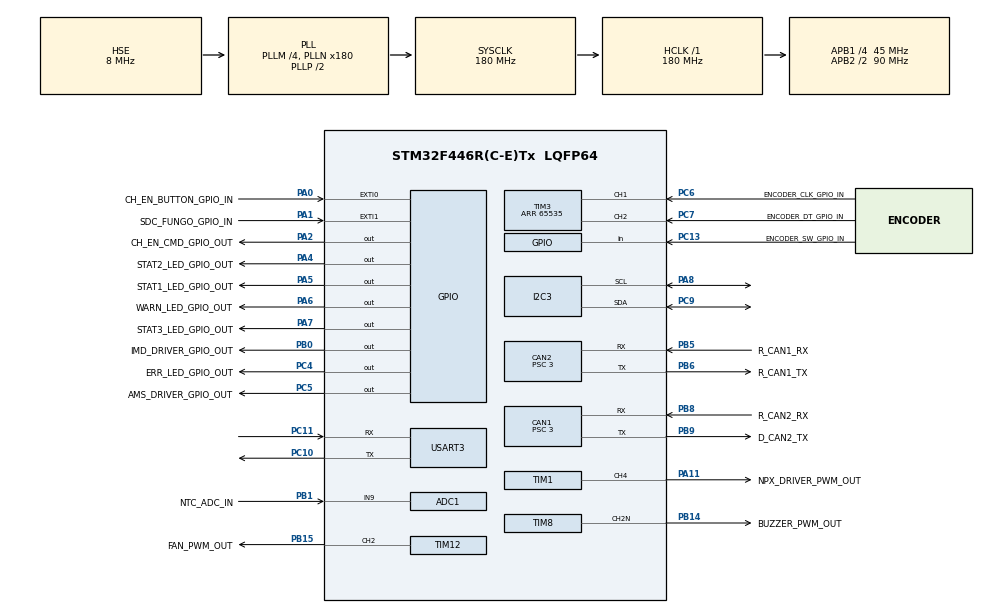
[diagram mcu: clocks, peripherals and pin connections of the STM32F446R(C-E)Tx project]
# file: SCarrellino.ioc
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ADC1.Channel-0\#ChannelRegularConversion=ADC_CHANNEL_9
ADC1.DMAContinuousRequests=ENABLE
ADC1.EnableAnalogWatchDog=false
ADC1.ExternalTrigConv=ADC_EXTERNALTRIGCONV_T4_CC4
ADC1.NbrOfConversion=1
ADC1.NbrOfConversionFlag=1
ADC1.Rank-0\#ChannelRegularConversion=1
ADC1.SamplingTime-0\#ChannelRegularConversion=ADC_SAMPLETIME_3CYCLES
ADC1.master=1
CAN1.ABOM=ENABLE
CAN1.AWUM=ENABLE
CAN1.BS1=CAN_BS1_12TQ
CAN1.BS2=CAN_BS2_2TQ
CAN1.CalculateBaudRate=1000000
CAN1.CalculateTimeBit=1000
CAN1.CalculateTimeQuantum=66.66666666666666
CAN1.Mode=CAN_MODE_NORMAL
CAN1.NART=DISABLE
CAN1.Prescaler=3
CAN2.ABOM=ENABLE
CAN2.AWUM=ENABLE
CAN2.BS1=CAN_BS1_12TQ
CAN2.BS2=CAN_BS2_2TQ
CAN2.CalculateBaudRate=1000000
CAN2.CalculateTimeBit=1000
CAN2.CalculateTimeQuantum=66.66666666666666
CAN2.Mode=CAN_MODE_NORMAL
CAN2.NART=DISABLE
CAN2.Prescaler=3
Dma.ADC1.0.Direction=DMA_PERIPH_TO_MEMORY
Dma.ADC1.0.FIFOMode=DMA_FIFOMODE_DISABLE
Dma.ADC1.0.Instance=DMA2_Stream0
Dma.ADC1.0.MemDataAlignment=DMA_MDATAALIGN_HALFWORD
Dma.ADC1.0.MemInc=DMA_MINC_ENABLE
Dma.ADC1.0.Mode=DMA_CIRCULAR
Dma.ADC1.0.PeriphDataAlignment=DMA_PDATAALIGN_HALFWORD
Dma.ADC1.0.PeriphInc=DMA_PINC_DISABLE
Dma.ADC1.0.Priority=DMA_PRIORITY_LOW
Dma.Request0=ADC1
I2C3.I2C_Mode=I2C_Standard
Mcu.Family=STM32F4
Mcu.Name=STM32F446R(C-E)Tx
Mcu.Package=LQFP64
Mcu.UserConstants=adc_timer_value,500
NVIC.CAN1_RX0_IRQn=true\:0\:0\:true\:false\:true\:true\:true\:true
NVIC.CAN1_RX1_IRQn=true\:0\:0\:true\:false\:true\:true\:true\:true
NVIC.CAN1_SCE_IRQn=true\:1\:0\:true\:false\:true\:true\:true\:true
NVIC.CAN2_RX0_IRQn=true\:0\:0\:true\:false\:true\:true\:true\:true
NVIC.CAN2_RX1_IRQn=true\:0\:0\:true\:false\:true\:true\:true\:true
NVIC.CAN2_SCE_IRQn=true\:1\:0\:true\:false\:true\:true\:true\:true
NVIC.DMA2_Stream0_IRQn=true\:0\:0\:false\:false\:true\:false\:true\:true
NVIC.EXTI0_IRQn=true\:0\:0\:false\:false\:true\:true\:true\:true
NVIC.EXTI1_IRQn=true\:0\:0\:false\:false\:true\:true\:true\:true
NVIC.I2C3_ER_IRQn=true\:1\:0\:true\:false\:true\:true\:true\:true
NVIC.PriorityGroup=NVIC_PRIORITYGROUP_4
NVIC.TIM1_BRK_TIM9_IRQn=true\:2\:0\:true\:false\:true\:true\:true\:true
NVIC.TIM1_UP_TIM10_IRQn=true\:2\:0\:true\:false\:true\:true\:true\:true
NVIC.TIM2_IRQn=true\:2\:0\:true\:false\:true\:true\:true\:true
NVIC.TIM3_IRQn=true\:0\:0\:true\:false\:true\:true\:true\:true
NVIC.TIM4_IRQn=true\:1\:0\:true\:false\:true\:true\:true\:true
NVIC.TIM6_DAC_IRQn=true\:0\:0\:true\:false\:true\:true\:true\:true
NVIC.TIM7_IRQn=true\:0\:0\:false\:false\:true\:true\:true\:true
NVIC.TIM8_BRK_TIM12_IRQn=true\:0\:0\:false\:false\:true\:true\:true\:true
NVIC.TIM8_CC_IRQn=true\:0\:0\:false\:false\:true\:true\:true\:true
NVIC.TIM8_TRG_COM_TIM14_IRQn=true\:0\:0\:false\:false\:true\:true\:true\:true
NVIC.TIM8_UP_TIM13_IRQn=true\:0\:0\:false\:false\:true\:true\:true\:true
PA0-WKUP.GPIO_Label=CH_EN_BUTTON_GPIO_IN
PA0-WKUP.GPIO_ModeDefaultEXTI=GPIO_MODE_IT_RISING_FALLING
PA0-WKUP.Signal=GPXTI0
PA1.GPIO_Label=SDC_FUNGO_GPIO_IN
PA1.GPIO_ModeDefaultEXTI=GPIO_MODE_IT_FALLING
PA1.Signal=GPXTI1
PA11.GPIO_Label=NPX_DRIVER_PWM_OUT
PA11.Signal=S_TIM1_CH4
PA13.Mode=JTAG_4_pins
PA13.Signal=SYS_JTMS-SWDIO
PA14.Mode=JTAG_4_pins
PA14.Signal=SYS_JTCK-SWCLK
PA15.Mode=JTAG_4_pins
PA15.Signal=SYS_JTDI
PA2.GPIO_Label=CH_EN_CMD_GPIO_OUT
PA2.PinState=GPIO_PIN_SET
PA2.Signal=GPIO_Output
PA4.GPIO_Label=STAT2_LED_GPIO_OUT
PA4.Signal=GPIO_Output
PA5.GPIO_Label=STAT1_LED_GPIO_OUT
PA5.Signal=GPIO_Output
PA6.GPIO_Label=WARN_LED_GPIO_OUT
PA6.Signal=GPIO_Output
PA7.GPIO_Label=STAT3_LED_GPIO_OUT
PA7.Signal=GPIO_Output
PA8.Mode=I2C
PA8.Signal=I2C3_SCL
PB0.GPIO_Label=IMD_DRIVER_GPIO_OUT
PB0.Signal=GPIO_Output
PB1.GPIO_Label=NTC_ADC_IN
PB1.Signal=ADCx_IN9
PB14.GPIO_Label=BUZZER_PWM_OUT
PB14.Mode=PWM Generation2 CH2N
PB14.Signal=TIM8_CH2N
PB15.GPIO_Label=FAN_PWM_OUT
PB15.Signal=S_TIM12_CH2
PB3.Mode=JTAG_4_pins
PB3.Signal=SYS_JTDO-SWO
PB5.GPIO_Label=R_CAN1_RX
PB5.GPIO_PuPd=GPIO_PULLUP
PB5.Mode=CAN_Activate
PB5.Signal=CAN2_RX
PB6.GPIO_Label=R_CAN1_TX
PB6.Mode=CAN_Activate
PB6.Signal=CAN2_TX
PB8.GPIO_Label=R_CAN2_RX
PB8.GPIO_PuPd=GPIO_PULLUP
PB8.Mode=CAN_Activate
PB8.Signal=CAN1_RX
PB9.GPIO_Label=D_CAN2_TX
PB9.GPIO_PuPd=GPIO_NOPULL
PB9.Mode=CAN_Activate
PB9.Signal=CAN1_TX
PC10.Mode=Asynchronous
PC10.Signal=USART3_TX
PC11.Mode=Asynchronous
PC11.Signal=USART3_RX
PC13.GPIO_Label=ENCODER_SW_GPIO_IN
PC13.Signal=GPIO_Input
PC4.GPIO_Label=ERR_LED_GPIO_OUT
PC4.Signal=GPIO_Output
PC5.GPIO_Label=AMS_DRIVER_GPIO_OUT
PC5.Signal=GPIO_Output
PC6.GPIO_Label=ENCODER_CLK_GPIO_IN
PC6.Signal=S_TIM3_CH1
PC7.GPIO_Label=ENCODER_DT_GPIO_IN
PC7.Signal=S_TIM3_CH2
PC9.Mode=I2C
PC9.Signal=I2C3_SDA
PH0-OSC_IN.Mode=HSE-External-Oscillator
PH0-OSC_IN.Signal=RCC_OSC_IN
PH1-OSC_OUT.Mode=HSE-External-Oscillator
PH1-OSC_OUT.Signal=RCC_OSC_OUT
ProjectManager.HeapSize=0x200
ProjectManager.StackSize=0x400
ProjectManager.TargetToolchain=Makefile
RCC.AHBFreq_Value=180000000
RCC.APB1CLKDivider=RCC_HCLK_DIV4
RCC.APB1Freq_Value=45000000
RCC.APB1TimFreq_Value=90000000
RCC.APB2CLKDivider=RCC_HCLK_DIV2
RCC.APB2Freq_Value=90000000
RCC.APB2TimFreq_Value=180000000
RCC.CortexFreq_Value=180000000
RCC.HCLKFreq_Value=180000000
RCC.HSE_VALUE=8000000
RCC.PLLM=4
RCC.PLLN=180
RCC.PLLSourceVirtual=RCC_PLLSOURCE_HSE
RCC.SYSCLKFreq_VALUE=180000000
RCC.SYSCLKSource=RCC_SYSCLKSOURCE_PLLCLK
RCC.USBFreq_Value=180000000
RCC.VCOOutputFreq_Value=360000000
SH.ADCx_IN9.0=ADC1_IN9,IN9
SH.S_TIM12_CH2.0=TIM12_CH2,PWM Generation2 CH2
SH.S_TIM1_CH4.0=TIM1_CH4,PWM Generation4 CH4
SH.S_TIM3_CH1.0=TIM3_CH1,Encoder_Interface
SH.S_TIM3_CH2.0=TIM3_CH2,Encoder_Interface
TIM1.Channel-PWM\ Generation4\ CH4=TIM_CHANNEL_4
TIM12.Channel-PWM\ Generation2\ CH2=TIM_CHANNEL_2
TIM12.ClockDivision=TIM_CLOCKDIVISION_DIV1
TIM12.OC2Preload_PWM=DISABLE
TIM12.Prescaler=0
TIM12.Pulse-PWM\ Generation2\ CH2=0
TIM2.Channel-Output\ Compare3\ No\ Output=TIM_CHANNEL_3
TIM2.ClockDivision=TIM_CLOCKDIVISION_DIV4
TIM2.OCMode_3=TIM_OCMODE_TOGGLE
TIM2.Period=65535
TIM2.Prescaler=18000
TIM2.Pulse-Output\ Compare3\ No\ Output=2
TIM2.TIM_MasterOutputTrigger=TIM_TRGO_OC3REF
TIM3.EncoderMode=TIM_ENCODERMODE_TI12
TIM3.IC1Polarity=TIM_ICPOLARITY_FALLING
TIM3.IC2Polarity=TIM_ICPOLARITY_FALLING
TIM3.Period=65535
TIM4.AutoReloadPreload=TIM_AUTORELOAD_PRELOAD_DISABLE
TIM4.Channel-Output\ Compare4\ No\ Output=TIM_CHANNEL_4
TIM4.OC4Preload=DISABLE
TIM4.OCMode_4=TIM_OCMODE_TOGGLE
TIM4.Period=65535
TIM4.Prescaler=17999
TIM4.Pulse=adc_timer_value
TIM4.Pulse-Output\ Compare4\ No\ Output=adc_timer_value
TIM4.TIM_MasterOutputTrigger=TIM_TRGO_OC4REF
TIM4.TIM_MasterSlaveMode=TIM_MASTERSLAVEMODE_DISABLE
TIM6.Period=100
TIM6.Prescaler=9000-1
TIM6.TIM_MasterOutputTrigger=TIM_TRGO_UPDATE
TIM7.Period=10000
TIM7.Prescaler=9000-1
TIM7.TIM_MasterOutputTrigger=TIM_TRGO_UPDATE
TIM8.Channel-PWM\ Generation2\ CH2N=TIM_CHANNEL_2
TIM8.ClockDivision=TIM_CLOCKDIVISION_DIV1
TIM8.OC2Preload_PWM=DISABLE
TIM8.OCNPolarity_2=TIM_OCNPOLARITY_LOW
TIM8.Period=499
TIM8.Prescaler=89
TIM8.Pulse-PWM\ Generation2\ CH2N=250
TIM8.TIM_MasterOutputTrigger=TIM_TRGO_RESET
USART3.VirtualMode=VM_ASYNC
VP_TIM12_VS_ClockSourceINT.Mode=Internal
VP_TIM1_VS_ClockSourceINT.Mode=Internal
VP_TIM2_VS_ClockSourceINT.Mode=Internal
VP_TIM2_VS_no_output3.Mode=Output Compare3 No Output
VP_TIM4_VS_ClockSourceINT.Mode=Internal
VP_TIM4_VS_no_output4.Mode=Output Compare4 No Output
VP_TIM6_VS_ClockSourceINT.Mode=Enable_Timer
VP_TIM7_VS_ClockSourceINT.Mode=Enable_Timer
VP_TIM8_VS_ClockSourceINT.Mode=Internal
VP_TIM9_VS_ClockSourceINT.Mode=Internal
board=custom

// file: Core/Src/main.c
/* USER CODE BEGIN Header */
/**
 ******************************************************************************
 * @file           : main.c
 * @brief          : Main program body
 ******************************************************************************
 * @attention
 *
 * Copyright (c) 2024 STMicroelectronics.
 * All rights reserved.
 *
 * This software is licensed under terms that can be found in the LICENSE file
 * in the root directory of this software component.
 * If no LICENSE file comes with this software, it is provided AS-IS.
 *
 ******************************************************************************
 */
/* USER CODE END Header */
#include "main.h"
#include "adc.h"
#include "can.h"
#include "dma.h"
#include "i2c.h"
#include "tim.h"
#include "usart.h"
#include "gpio.h"

/* USER CODE BEGIN PD */

// flag for the LCD library
uint8_t raw = 0u;

//flag to solve a timer problem
uint8_t first_charge = 1;

//Flag to know if it is the first code run to check if the CmdEn is still on
uint8_t first_run = 1;

/* USER CODE END PD */

void SystemClock_Config(void);

int main(void)
{

  /* MCU Configuration--------------------------------------------------------*/

  /* Reset of all peripherals, Initializes the Flash interface and the Systick. */
  HAL_Init();

  /* Configure the system clock */
  SystemClock_Config();

  /* Initialize all configured peripherals */
  MX_GPIO_Init();
  MX_DMA_Init();
  MX_CAN1_Init();
  MX_TIM4_Init();
  MX_ADC1_Init();
  MX_CAN2_Init();
  MX_I2C3_Init();
  MX_TIM1_Init();
  MX_TIM3_Init();
  MX_TIM8_Init();
  MX_TIM9_Init();
  MX_TIM12_Init();
  MX_TIM2_Init();
  MX_USART3_UART_Init();
  MX_TIM6_Init();
  MX_TIM7_Init();
  /* USER CODE BEGIN 2 */

  //HAL_TIM_Encoder_Start_IT(&htim3, TIM_CHANNEL_ALL);

  //timer for adc conversions
  //HAL_TIM_OC_Start_IT(&htim4, TIM_CHANNEL_4);
  //HAL_ADC_Start_DMA(&hadc1, (uint32_t *) &ADC_value, 1);
  //can command TX
  //HAL_TIM_Base_Start_IT(&htim6);

  System_init();

  /* USER CODE END 2 */

  /* Infinite loop */
  /* USER CODE BEGIN WHILE */
  while (1) {

    can_routine();

    charge_control_routine();

    #ifdef Display
    HMI_routine();
    #endif

    #ifdef Watchdog
    watchdog_routine();
    #endif

    /* USER CODE END WHILE */

    }
}

void SystemClock_Config(void)
{
  RCC_OscInitTypeDef RCC_OscInitStruct = {0};
  RCC_ClkInitTypeDef RCC_ClkInitStruct = {0};

  /** Configure the main internal regulator output voltage
  */
  __HAL_RCC_PWR_CLK_ENABLE();
  __HAL_PWR_VOLTAGESCALING_CONFIG(PWR_REGULATOR_VOLTAGE_SCALE1);

  /** Initializes the RCC Oscillators according to the specified parameters
  * in the RCC_OscInitTypeDef structure.
  */
  RCC_OscInitStruct.OscillatorType = RCC_OSCILLATORTYPE_HSE;
  RCC_OscInitStruct.HSEState = RCC_HSE_ON;
  RCC_OscInitStruct.PLL.PLLState = RCC_PLL_ON;
  RCC_OscInitStruct.PLL.PLLSource = RCC_PLLSOURCE_HSE;
  RCC_OscInitStruct.PLL.PLLM = 4;
  RCC_OscInitStruct.PLL.PLLN = 180;
  RCC_OscInitStruct.PLL.PLLP = RCC_PLLP_DIV2;
  RCC_OscInitStruct.PLL.PLLQ = 2;
  RCC_OscInitStruct.PLL.PLLR = 2;
  if (HAL_RCC_OscConfig(&RCC_OscInitStruct) != HAL_OK)
  {
    Error_Handler();
  }

  /** Activate the Over-Drive mode
  */
  if (HAL_PWREx_EnableOverDrive() != HAL_OK)
  {
    Error_Handler();
  }

  /** Initializes the CPU, AHB and APB buses clocks
  */
  RCC_ClkInitStruct.ClockType = RCC_CLOCKTYPE_HCLK|RCC_CLOCKTYPE_SYSCLK
                              |RCC_CLOCKTYPE_PCLK1|RCC_CLOCKTYPE_PCLK2;
  RCC_ClkInitStruct.SYSCLKSource = RCC_SYSCLKSOURCE_PLLCLK;
  RCC_ClkInitStruct.AHBCLKDivider = RCC_SYSCLK_DIV1;
  RCC_ClkInitStruct.APB1CLKDivider = RCC_HCLK_DIV4;
  RCC_ClkInitStruct.APB2CLKDivider = RCC_HCLK_DIV2;

  if (HAL_RCC_ClockConfig(&RCC_ClkInitStruct, FLASH_LATENCY_5) != HAL_OK)
  {
    Error_Handler();
  }
}

void Error_Handler(void)
{
  /* USER CODE BEGIN Error_Handler_Debug */
    /* User can add his own implementation to report the HAL error return state */

    AIR_CAN_Cmd_Off();
    __disable_irq();

    //STOP CHARGE

    ChargeENcmdOFF();
    ChargeBlueLedOff();
    WarnLedOn();
    TSAC_fan_off();

    //display error
    error_display();
    buzzer_12khz();

#ifndef silence
    buzzer_on();
#endif

    __enable_irq();
    HAL_Delay(2000);
    buzzer_off();
    __disable_irq();

    while (1) {
    }
  /* USER CODE END Error_Handler_Debug */
}

#ifdef  USE_FULL_ASSERT
/**
  * @brief  Reports the name of the source file and the source line number
  *         where the assert_param error has occurred.
  * @param  file: pointer to the source file name
  * @param  line: assert_param error line source number
  * @retval None
  */
void assert_failed(uint8_t *file, uint32_t line)
{
  /* USER CODE BEGIN 6 */
    /* User can add his own implementation to report the file name and line number,
       eg: printf("Wrong parameters value: file %s on line %d\r\n", file, line)
  /* USER CODE END 6 */
}
#endif /* USE_FULL_ASSERT */
